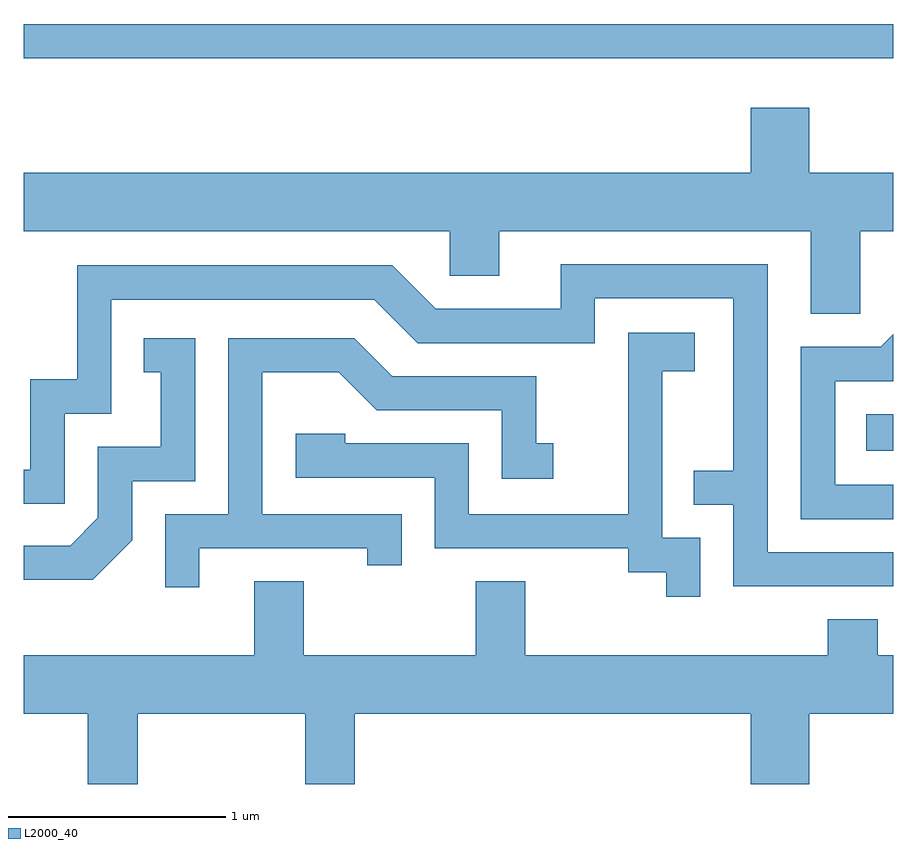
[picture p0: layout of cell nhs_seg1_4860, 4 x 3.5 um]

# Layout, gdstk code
import gdstk
lib = gdstk.Library(unit=1e-6, precision=1e-09)
def R(c, l, rs):  # rectangles x0, y0, x1, y1
    for r in rs: c.add(gdstk.rectangle(r[:2], r[2:], *l))
def P(c, l, *ps):  # polygons
    for p in ps: c.add(gdstk.Polygon(p, *l))
L2000_40 = (2000, 40)

nhs_seg1_4860 = lib.new_cell('nhs_seg1_4860')
R(nhs_seg1_4860, L2000_40, [(335.488,885.246,335.611,885.414), (331.611,887.051,335.611,887.209)])
P(nhs_seg1_4860, L2000_40, [(335.459,886.256),(335.611,886.256),(335.611,886.524),(335.224,886.524),(335.224,886.824),(334.956,886.824),(334.956,886.524),(331.611,886.524),(331.611,886.256),(333.571,886.256),(333.571,886.051),(333.799,886.051),(333.799,886.256),(335.231,886.256),(335.231,885.876),(335.459,885.876)],
  [(335.611,884.779),(335.034,884.779),(335.034,886.104),(334.081,886.104),(334.081,885.899),(333.507,885.899),(333.307,886.099),(331.856,886.099),(331.856,885.574),(331.641,885.574),(331.641,885.159),(331.611,885.159),(331.611,885.001),(331.799,885.001),(331.799,885.416),(332.014,885.416),(332.014,885.941),(333.224,885.941),(333.424,885.741),(334.239,885.741),(334.239,885.946),(334.876,885.946),(334.876,885.154),(334.693,885.154),(334.693,884.996),(334.876,884.996),(334.876,884.621),(335.611,884.621)],
  [(334.724,884.844),(334.549,884.844),(334.549,885.611),(334.699,885.611),(334.699,885.789),(334.391,885.789),(334.391,884.954),(333.659,884.954),(333.659,885.279),(333.089,885.279),(333.089,885.324),(332.861,885.324),(332.861,885.121),(333.501,885.121),(333.501,884.796),(334.391,884.796),(334.391,884.686),(334.566,884.686),(334.566,884.573),(334.724,884.573)],
  [(335.611,885.089),(335.344,885.089),(335.344,885.566),(335.611,885.566),(335.611,885.781),(335.554,885.724),(335.186,885.724),(335.186,884.931),(335.611,884.931)],
  [(332.109,884.834),(332.109,885.106),(332.399,885.106),(332.399,885.764),(332.163,885.764),(332.163,885.606),(332.241,885.606),(332.241,885.264),(331.951,885.264),(331.951,884.937),(331.824,884.809),(331.611,884.809),(331.611,884.651),(331.927,884.651)],
  [(332.419,884.796),(333.191,884.796),(333.191,884.718),(333.349,884.718),(333.349,884.954),(332.709,884.954),(332.709,885.606),(333.059,885.606),(333.234,885.431),(333.811,885.431),(333.811,885.116),(334.048,885.116),(334.048,885.279),(333.969,885.279),(333.969,885.589),(333.307,885.589),(333.132,885.764),(332.551,885.764),(332.551,884.954),(332.261,884.954),(332.261,884.618),(332.419,884.618)],
  [(332.134,884.036),(332.906,884.036),(332.906,883.712),(333.134,883.712),(333.134,884.036),(334.956,884.036),(334.956,883.712),(335.224,883.712),(335.224,884.036),(335.611,884.036),(335.611,884.304),(335.539,884.304),(335.539,884.469),(335.311,884.469),(335.311,884.304),(333.919,884.304),(333.919,884.644),(333.691,884.644),(333.691,884.304),(332.899,884.304),(332.899,884.644),(332.671,884.644),(332.671,884.304),(331.611,884.304),(331.611,884.036),(331.906,884.036),(331.906,883.712),(332.134,883.712)])

lib.write_gds('nhs_seg1_4860.gds')
